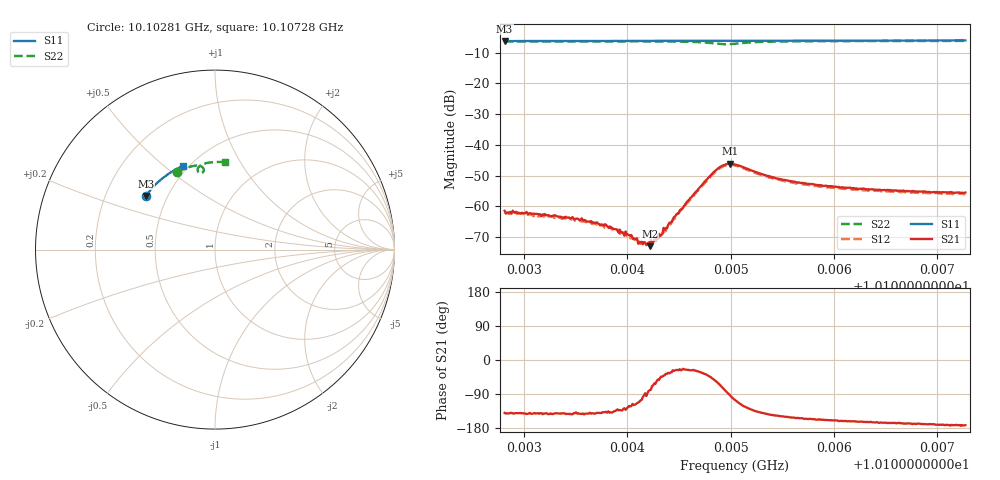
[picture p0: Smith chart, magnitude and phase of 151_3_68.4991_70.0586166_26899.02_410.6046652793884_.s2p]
#  HZ  S  RI  R  50.00
! Rohde & Schwarz Vector Network Analyzer
! Rohde-Schwarz,ZNB20-2Port,1311601062101988,3.16
! Created: UTC 3/20/2024, 5:10:32 PM
! freq[Hz]  re:S11  im:S11  re:S21  im:S21  re:S12  im:S12  re:S22  im:S22
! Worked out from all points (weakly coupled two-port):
!   401 points, 10.10281 GHz to 10.10728 GHz, reference 50 ohm
!   highest |S21| = -46.20 dB at 10.105 GHz (marker M1); lowest = -73.0 dB at 10.10422 GHz (marker M2)
!   lowest |S11| = -6.2 dB at 10.10281 GHz (marker M3), VSWR 2.90, Z = 19 + j14.9 ohm
!   |S11| at or under -10 dB: nowhere
!   |S22| runs from -7.3 to -6.2 dB; largest |S21 - S12| = 0.0005
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1.010281e10  -0.3846 0.2993  -0.000643 -0.000549  -0.00056 -0.000563  -0.2109 0.4307
1.0103223e10  -0.3696 0.3195  -0.000558 -0.000449  -0.000522 -0.00048  -0.1866 0.443
1.0103558e10  -0.3567 0.3353  -0.000504 -0.000389  -0.00041 -0.000388  -0.1656 0.452
1.0103737e10  -0.3496 0.3433  -0.000375 -0.000316  -0.000341 -0.000349  -0.1541 0.4564
1.0103781e10  -0.3479 0.3455  -0.000374 -0.000345  -0.00029 -0.000333  -0.1511 0.4576
1.010396e10  -0.3404 0.3534  -0.000229 -0.000279  -0.000209 -0.000306  -0.1389 0.4614
1.0104005e10  -0.3385 0.3554  -0.000198 -0.000285  -0.00016 -0.000289  -0.1359 0.4624
1.0104127e10  -0.3333 0.3607  -7.67e-05 -0.000256  -6.47e-05 -0.000237  -0.1267 0.4648
1.0104183e10  -0.3308 0.3631  -2.02e-05 -0.000232  2.54e-05 -0.000236  -0.1226 0.4657
1.0104217e10  -0.3295 0.3646  4e-05 -0.00022  9.33e-05 -0.000247  -0.12 0.4662
1.0104273e10  -0.327 0.367  0.000132 -0.000256  0.000142 -0.000218  -0.1155 0.4671
1.0104306e10  -0.3256 0.3684  0.000216 -0.000284  0.000222 -0.000244  -0.1128 0.4676
1.0104351e10  -0.3236 0.3702  0.000332 -0.000294  0.000303 -0.000225  -0.1091 0.4679
1.0104585e10  -0.3132 0.3799  0.0011 -0.000528  0.00108 -0.000409  -0.0863 0.4672
1.010482e10  -0.3024 0.3891  0.00224 -0.00251  0.00236 -0.00217  -0.0629 0.4463
1.0104909e10  -0.2982 0.3923  0.00153 -0.00418  0.00186 -0.00384  -0.0682 0.4296
1.0104998e10  -0.2942 0.3959  -0.000376 -0.00489  6.51e-05 -0.0047  -0.0862 0.4266
1.0105043e10  -0.2922 0.3975  -0.00127 -0.00462  -0.000826 -0.00451  -0.0932 0.4321
1.0105423e10  -0.2741 0.4116  -0.00244 -0.00165  -0.00215 -0.00178  -0.0758 0.4721
1.0105791e10  -0.2556 0.4245  -0.00211 -0.000923  -0.00191 -0.00106  -0.0471 0.482
1.0106539e10  -0.2166 0.4474  -0.00176 -0.000448  -0.00164 -0.000604  0.00491 0.4882
1.0107276e10  -0.1763 0.4665  -0.00166 -0.000232  -0.00154 -0.000362  0.0534 0.4874
